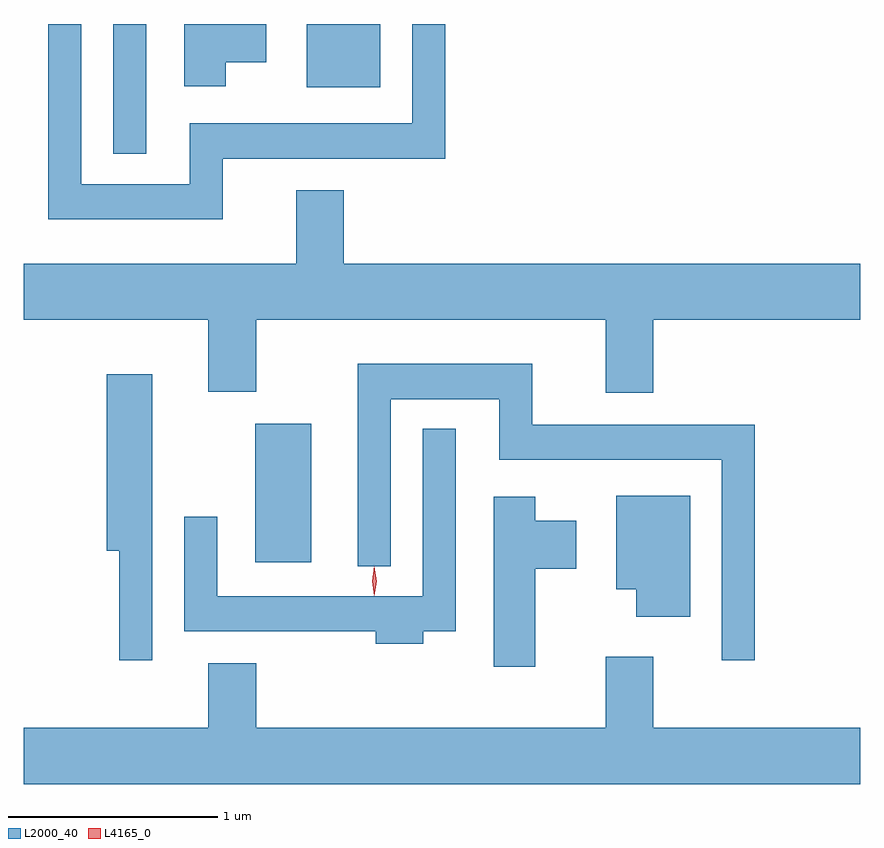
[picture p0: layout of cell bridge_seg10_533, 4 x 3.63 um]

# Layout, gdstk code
import gdstk
lib = gdstk.Library(unit=1e-6, precision=1e-09)
def R(c, l, rs):  # rectangles x0, y0, x1, y1
    for r in rs: c.add(gdstk.rectangle(r[:2], r[2:], *l))
def P(c, l, *ps):  # polygons
    for p in ps: c.add(gdstk.Polygon(p, *l))
L2000_40 = (2000, 40)
L4165_0 = (4165, 0)

bridge_seg10_533 = lib.new_cell('bridge_seg10_533')
R(bridge_seg10_533, L2000_40, [(770.636,2166.036,770.904,2166.699), (769.956,2167.988,770.114,2168.609), (770.881,2168.306,771.234,2168.609)])
P(bridge_seg10_533, L2000_40, [(770.494,2168.426),(770.689,2168.426),(770.689,2168.609),(770.296,2168.609),(770.296,2168.311),(770.494,2168.311)],
  [(770.479,2167.966),(771.544,2167.966),(771.544,2168.609),(771.386,2168.609),(771.386,2168.134),(770.321,2168.134),(770.321,2167.844),(769.804,2167.844),(769.804,2168.609),(769.646,2168.609),(769.646,2167.676),(770.479,2167.676)],
  [(772.539,2167.196),(773.528,2167.196),(773.528,2167.464),(771.059,2167.464),(771.059,2167.814),(770.831,2167.814),(770.831,2167.464),(769.528,2167.464),(769.528,2167.196),(770.411,2167.196),(770.411,2166.851),(770.639,2166.851),(770.639,2167.196),(772.311,2167.196),(772.311,2166.846),(772.539,2166.846)],
  [(773.024,2166.694),(771.959,2166.694),(771.959,2166.984),(771.126,2166.984),(771.126,2166.018),(771.284,2166.018),(771.284,2166.816),(771.801,2166.816),(771.801,2166.526),(772.866,2166.526),(772.866,2165.568),(773.024,2165.568)],
  [(770.144,2166.934),(769.926,2166.934),(769.926,2166.091),(769.986,2166.091),(769.986,2165.568),(770.144,2165.568)],
  [(771.439,2165.706),(771.594,2165.706),(771.594,2166.673),(771.436,2166.673),(771.436,2165.874),(770.454,2165.874),(770.454,2166.253),(770.296,2166.253),(770.296,2165.706),(771.211,2165.706),(771.211,2165.646),(771.439,2165.646)],
  [(772.714,2166.354),(772.361,2166.354),(772.361,2165.906),(772.456,2165.906),(772.456,2165.776),(772.714,2165.776)],
  [(771.974,2166.006),(772.169,2166.006),(772.169,2166.234),(771.974,2166.234),(771.974,2166.349),(771.776,2166.349),(771.776,2165.536),(771.974,2165.536)],
  [(773.528,2165.244),(772.539,2165.244),(772.539,2165.584),(772.311,2165.584),(772.311,2165.244),(770.639,2165.244),(770.639,2165.554),(770.411,2165.554),(770.411,2165.244),(769.528,2165.244),(769.528,2164.976),(773.528,2164.976)])
P(bridge_seg10_533, L4165_0, [(771.204,2165.877),(771.195,2165.946),(771.204,2166.016),(771.205,2166.016),(771.205,2166.016),(771.215,2165.946),(771.205,2165.877),(771.205,2165.877)],
  [(771.204,2165.879),(771.204,2165.88),(771.194,2165.946),(771.204,2166.012),(771.204,2166.013),(771.205,2166.012),(771.214,2165.946),(771.205,2165.88)])

lib.write_gds('bridge_seg10_533.gds')
